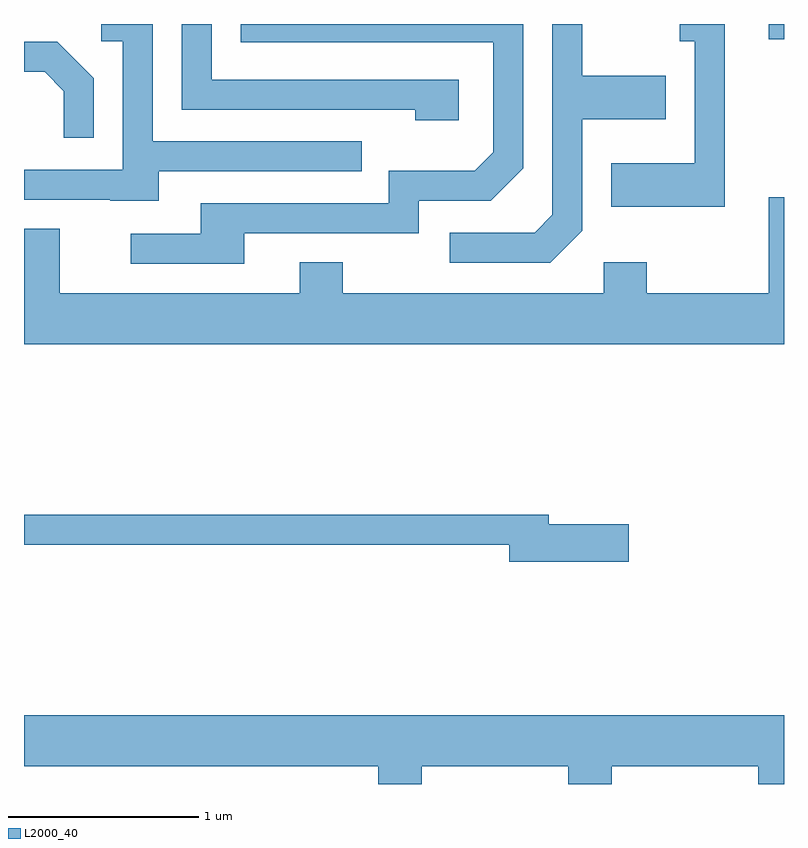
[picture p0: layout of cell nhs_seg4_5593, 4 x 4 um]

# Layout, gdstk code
import gdstk
lib = gdstk.Library(unit=1e-6, precision=1e-09)
def R(c, l, rs):  # rectangles x0, y0, x1, y1
    for r in rs: c.add(gdstk.rectangle(r[:2], r[2:], *l))
def P(c, l, *ps):  # polygons
    for p in ps: c.add(gdstk.Polygon(p, *l))
L2000_40 = (2000, 40)

nhs_seg4_5593 = lib.new_cell('nhs_seg4_5593')
R(nhs_seg4_5593, L2000_40, [(353.531,1291.901,353.611,1291.982)])
P(nhs_seg4_5593, L2000_40, [(351.899,1291.689),(350.599,1291.689),(350.599,1291.982),(350.441,1291.982),(350.441,1291.531),(351.671,1291.531),(351.671,1291.476),(351.899,1291.476)],
  [(350.319,1291.206),(351.388,1291.206),(351.388,1291.364),(350.289,1291.364),(350.289,1291.982),(350.018,1291.982),(350.018,1291.891),(350.131,1291.891),(350.131,1291.214),(349.611,1291.214),(349.611,1291.056),(350.065,1291.056),(350.065,1291.051),(350.319,1291.051)],
  [(353.299,1291.982),(353.063,1291.982),(353.063,1291.891),(353.141,1291.891),(353.141,1291.249),(352.701,1291.249),(352.701,1291.021),(353.299,1291.021)],
  [(350.769,1290.881),(351.689,1290.881),(351.689,1291.051),(352.067,1291.051),(352.239,1291.224),(352.239,1291.982),(350.751,1291.982),(350.751,1291.886),(352.081,1291.886),(352.081,1291.307),(351.984,1291.209),(351.531,1291.209),(351.531,1291.039),(350.541,1291.039),(350.541,1290.879),(350.173,1290.879),(350.173,1290.721),(350.769,1290.721)],
  [(352.549,1290.894),(352.549,1291.481),(352.989,1291.481),(352.989,1291.709),(352.549,1291.709),(352.549,1291.982),(352.391,1291.982),(352.391,1290.977),(352.299,1290.884),(351.853,1290.884),(351.853,1290.726),(352.382,1290.726)],
  [(349.979,1291.697),(349.787,1291.889),(349.611,1291.889),(349.611,1291.731),(349.719,1291.731),(349.821,1291.629),(349.821,1291.383),(349.979,1291.383)],
  [(353.611,1291.069),(353.531,1291.069),(353.531,1290.564),(352.889,1290.564),(352.889,1290.729),(352.661,1290.729),(352.661,1290.564),(351.289,1290.564),(351.289,1290.729),(351.061,1290.729),(351.061,1290.564),(349.799,1290.564),(349.799,1290.904),(349.611,1290.904),(349.611,1290.296),(353.611,1290.296)],
  [(352.794,1289.349),(352.374,1289.349),(352.374,1289.399),(349.611,1289.399),(349.611,1289.241),(352.166,1289.241),(352.166,1289.151),(352.794,1289.151)],
  [(351.704,1288.076),(352.476,1288.076),(352.476,1287.982),(352.704,1287.982),(352.704,1288.076),(353.476,1288.076),(353.476,1287.982),(353.611,1287.982),(353.611,1288.344),(349.611,1288.344),(349.611,1288.076),(351.476,1288.076),(351.476,1287.982),(351.704,1287.982)])

lib.write_gds('nhs_seg4_5593.gds')
